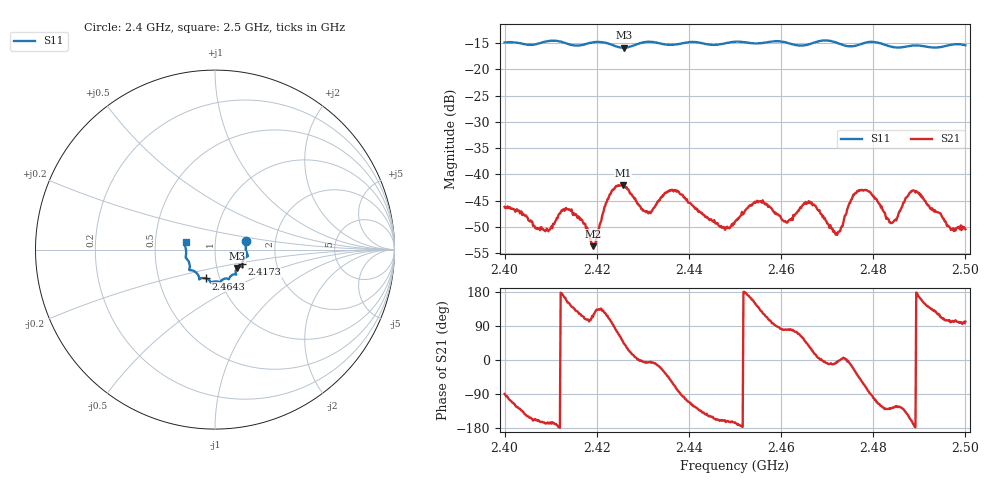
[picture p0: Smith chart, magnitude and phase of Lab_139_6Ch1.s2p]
# Hz S RI R 50
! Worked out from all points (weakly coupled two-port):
!   601 points, 2.4 GHz to 2.5 GHz, reference 50 ohm
!   highest |S21| = -42.01 dB at 2.4257 GHz (marker M1); lowest = -53.7 dB at 2.4192 GHz (marker M2)
!   lowest |S11| = -15.9 dB at 2.4258 GHz (marker M3), VSWR 1.38, Z = 62.3 - j13.3 ohm
!   |S11| at or under -10 dB: start of sweep to end of sweep
!   S12 and S22 are empty: the file has one direction only
!   S11 on the Smith chart (normalised r, x): 2.4 GHz: 1.41, +0.14; 2.4173 GHz: 1.34, -0.23; 2.4643 GHz: 0.86, -0.28; 2.5 GHz: 0.72, +0.06
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2.4e9  0.1731 0.0491  2.1e-05 -0.00491  0 0  0 0
2.409e9  0.1817 -0.0288  -0.00287 -0.000644  0 0  0 0
2.412833e9  0.1753 -0.0409  -0.00456 0.000988  0 0  0 0
2.416667e9  0.1527 -0.0744  -0.00167 0.00331  0 0  0 0
2.417333e9  0.152 -0.0819  -0.00112 0.00321  0 0  0 0
2.419167e9  0.153 -0.0959  -0.000833 0.0019  0 0  0 0
2.422833e9  0.1468 -0.0938  -0.00187 0.00619  0 0  0 0
2.425667e9  0.1233 -0.1024  0.0052 0.006  0 0  0 0
2.425833e9  0.1221 -0.1037  0.00547 0.00535  0 0  0 0
2.430667e9  0.1184 -0.1386  0.00436 -0.000397  0 0  0 0
2.433333e9  0.1129 -0.1377  0.00534 -0.00141  0 0  0 0
2.437333e9  0.0848 -0.1505  0.00162 -0.00665  0 0  0 0
2.45e9  0.0288 -0.1811  -0.00342 -0.000941  0 0  0 0
2.454833e9  0.00322 -0.1764  -0.00444 0.00345  0 0  0 0
2.461e9  -0.0268 -0.1783  0.000589 0.00354  0 0  0 0
2.464333e9  -0.0499 -0.1604  0.00221 0.00425  0 0  0 0
2.466667e9  -0.076 -0.1593  0.00486 0.00231  0 0  0 0
2.472167e9  -0.0886 -0.1548  0.00264 -0.000301  0 0  0 0
2.4785e9  -0.1388 -0.1148  0.00198 -0.00682  0 0  0 0
2.483333e9  -0.1406 -0.0898  -0.00235 -0.00292  0 0  0 0
2.489e9  -0.1626 -0.0456  -0.00696 -0.000444  0 0  0 0
2.5e9  -0.1641 0.0426  -0.000591 0.00295  0 0  0 0
